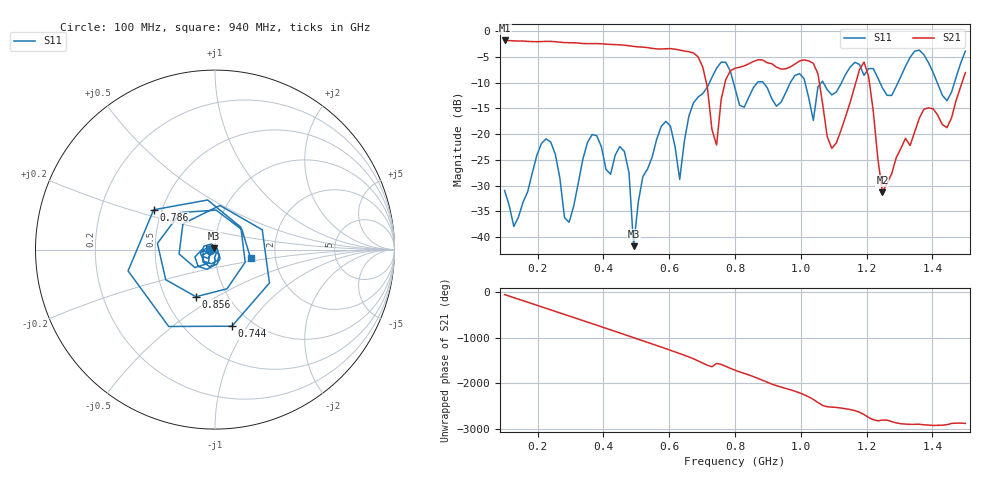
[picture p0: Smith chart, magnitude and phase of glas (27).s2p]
! NanoVNA-App
! Date: 2025-09-25 15:55:41
! Start: 100MHz Stop: 1,5GHz Points: 101
! S-Parameter data: F S11 S21 S12 S22
# Hz S RI R 50
!  Frequency  S11_Real  S11_Imag  S21_Real  S21_Imag  S12_Real  S12_Imag  S22_Real  S22_Imag
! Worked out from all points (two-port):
!   101 points, 100 MHz to 1.5 GHz, reference 50 ohm
!   highest |S21| = -1.80 dB at 100 MHz (marker M1); lowest = -31.3 dB at 1.248 GHz (marker M2)
!   |S21| within 3 dB of the highest: start of sweep to 684.3 MHz
!   lowest |S11| = -41.8 dB at 492 MHz (marker M3), VSWR 1.02, Z = 49.5 + j0.612 ohm
!   |S11| at or under -10 dB: start of sweep to 722.5 MHz; 795.4 MHz to 868.1 MHz (72.7 MHz wide, 8.74 % of centre); 886.1 MHz to 967.9 MHz (81.8 MHz wide, 8.82 % of centre) (the widest 3 of 7)
!   S12 and S22 are empty: the file has one direction only
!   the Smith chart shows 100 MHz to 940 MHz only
!   S11 on the Smith chart (normalised r, x): 100 MHz: 0.95, -0.01; 744 MHz: 0.81, -0.85; 786 MHz: 0.45, +0.24; 856 MHz: 0.71, -0.41; 940 MHz: 1.49, -0.15
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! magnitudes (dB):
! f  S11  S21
! 100 MHz  -31.0  -1.8
! 128 MHz  -38.0  -1.9
! 226 MHz  -20.9  -2.0
! 296 MHz  -37.1  -2.2
! 338 MHz  -24.8  -2.4
! 464 MHz  -23.4  -2.7
! 492 MHz  -41.8  -3.0
! 576 MHz  -18.5  -3.5
! 632 MHz  -28.8  -3.7
! 702 MHz  -12.1  -7.0
! 744 MHz  -7.2  -22.1
! 786 MHz  -7.8  -7.7
! 800 MHz  -11.1  -7.2
! 856 MHz  -11.0  -5.9
! 940 MHz  -13.8  -7.4
! 996 MHz  -8.2  -5.8
! 1.038 GHz  -17.3  -6.2
! 1.094 GHz  -12.4  -22.8
! 1.192 GHz  -8.6  -6.0
! 1.248 GHz  -11.0  -31.3
! 1.276 GHz  -12.5  -27.7
! 1.5 GHz  -3.9  -8.1
